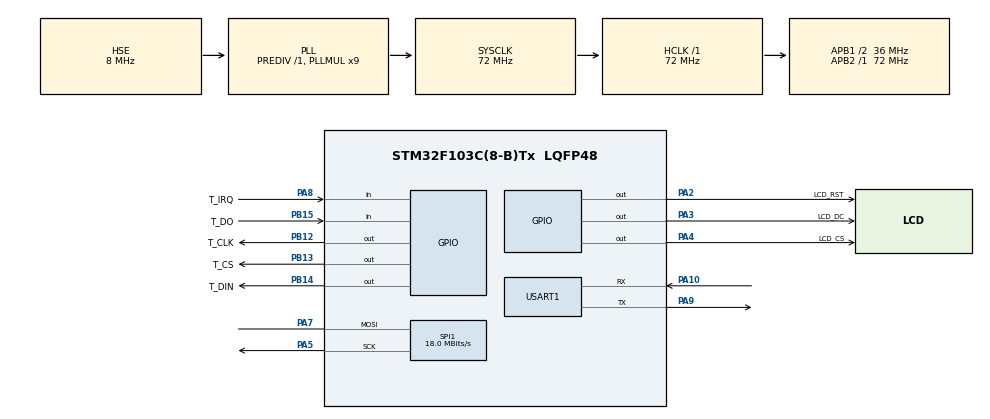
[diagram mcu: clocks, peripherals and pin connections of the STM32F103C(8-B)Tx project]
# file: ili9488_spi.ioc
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Mcu.Family=STM32F1
Mcu.Name=STM32F103C(8-B)Tx
Mcu.Package=LQFP48
NVIC.PriorityGroup=NVIC_PRIORITYGROUP_4
PA10.Mode=Asynchronous
PA10.Signal=USART1_RX
PA13.Mode=Serial_Wire
PA13.Signal=SYS_JTMS-SWDIO
PA14.Mode=Serial_Wire
PA14.Signal=SYS_JTCK-SWCLK
PA2.GPIO_Label=LCD_RST
PA2.Signal=GPIO_Output
PA3.GPIO_Label=LCD_DC
PA3.Signal=GPIO_Output
PA4.GPIO_Label=LCD_CS
PA4.PinState=GPIO_PIN_RESET
PA4.Signal=GPIO_Output
PA5.Mode=Simplex_Bidirectional_Master
PA5.Signal=SPI1_SCK
PA7.Mode=Simplex_Bidirectional_Master
PA7.Signal=SPI1_MOSI
PA8.GPIO_Label=T_IRQ
PA8.Signal=GPIO_Input
PA9.Mode=Asynchronous
PA9.Signal=USART1_TX
PB12.GPIO_Label=T_CLK
PB12.Signal=GPIO_Output
PB13.GPIO_Label=T_CS
PB13.Signal=GPIO_Output
PB14.GPIO_Label=T_DIN
PB14.Signal=GPIO_Output
PB15.GPIO_Label=T_DO
PB15.Signal=GPIO_Input
PD0-OSC_IN.Mode=HSE-External-Oscillator
PD0-OSC_IN.Signal=RCC_OSC_IN
PD1-OSC_OUT.Mode=HSE-External-Oscillator
PD1-OSC_OUT.Signal=RCC_OSC_OUT
ProjectManager.HeapSize=0x200
ProjectManager.StackSize=0x400
ProjectManager.TargetToolchain=EWARM V8.32
RCC.AHBFreq_Value=72000000
RCC.APB1CLKDivider=RCC_HCLK_DIV2
RCC.APB1Freq_Value=36000000
RCC.APB1TimFreq_Value=72000000
RCC.APB2Freq_Value=72000000
RCC.APB2TimFreq_Value=72000000
RCC.HCLKFreq_Value=72000000
RCC.PLLMUL=RCC_PLL_MUL9
RCC.PLLSourceVirtual=RCC_PLLSOURCE_HSE
RCC.SYSCLKFreq_VALUE=72000000
RCC.SYSCLKSource=RCC_SYSCLKSOURCE_PLLCLK
RCC.USBFreq_Value=72000000
SPI1.BaudRatePrescaler=SPI_BAUDRATEPRESCALER_4
SPI1.CalculateBaudRate=18.0 MBits/s
SPI1.Direction=SPI_DIRECTION_1LINE
SPI1.Mode=SPI_MODE_MASTER
SPI1.VirtualType=VM_MASTER
TIM1.Prescaler=72-1
USART1.VirtualMode=VM_ASYNC
VP_TIM1_VS_ClockSourceINT.Mode=Internal
board=custom

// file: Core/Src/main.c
/* USER CODE BEGIN Header */
/**
******************************************************************************
* @file           : main.c
* @brief          : Main program body
******************************************************************************
* @attention
*
* Copyright (c) 2023 STMicroelectronics.
* All rights reserved.
*
* This software is licensed under terms that can be found in the LICENSE file
* in the root directory of this software component.
* If no LICENSE file comes with this software, it is provided AS-IS.
*
******************************************************************************
*/
/* USER CODE END Header */
#include "main.h"

/* USER CODE BEGIN Includes */

#include "stdio.h"
#include "ILI9488_SPI.h"
#include "XPT2046.h"
#include "Font.h"
#include "AF12x16.h"
#include "image.h"
#include "startShow.h"
/* USER CODE END Includes */

SPI_HandleTypeDef hspi1;

TIM_HandleTypeDef htim1;

UART_HandleTypeDef huart1;

/* USER CODE BEGIN PV */
char str[100];
uint16_t x,y;
int i;
char test[100];
int len;
/* USER CODE END PV */

void SystemClock_Config(void);
static void MX_GPIO_Init(void);
static void MX_SPI1_Init(void);
static void MX_TIM1_Init(void);
static void MX_USART1_UART_Init(void);

/* USER CODE BEGIN 0 */

void show_uart( char *ss)
{
  strcpy(test, ss);
  strcat(test, "\r\n");
  len = strlen (test);
  HAL_UART_Transmit(&huart1, (uint8_t *) test, len, HAL_MAX_DELAY);
}

/* USER CODE END 0 */

int main(void)
{

  /* USER CODE BEGIN 1 */
  SystemInit();
  /* USER CODE END 1 */

  /* MCU Configuration--------------------------------------------------------*/

  /* Reset of all peripherals, Initializes the Flash interface and the Systick. */
  HAL_Init();

  /* Configure the system clock */
  SystemClock_Config();

  /* Initialize all configured peripherals */
  MX_GPIO_Init();
  MX_SPI1_Init();
  MX_TIM1_Init();
  MX_USART1_UART_Init();
  /* USER CODE BEGIN 2 */
  HAL_TIM_Base_Start_IT(&htim1);
  ILI9488_Init();

  StartShow();

  LcdFontXScale(2);
  LcdFontYScale(2);

  // ILI9488_Set_Rotation(0);
  ILI9488_Fill_Screen(WHITE);
  SetLetter(P_LETTER);
  DrawStringAt(0,0,"محمد فرج الهی",WHITE,RED);
  DrawStringAt(1,0,"ردیاب پاوان",WHITE,BLACK);
  SetLetter(E_LETTER);
  DrawStringAt(3,0," pavantech.ir ",BLACK,WHITE);
  DrawStringAt(4,0," TFT ILI9488 ",WHITE,MAROON);
  DrawStringAt(5,0," STM32F103 ",WHITE,PINK);
  HAL_Delay(3000);
  LcdFontXScale(3);
  LcdFontYScale(3);
  ILI9488_Fill_Screen(BLACK);
  SetLetter(P_LETTER);
  DrawStringAt(0,0," پاوان تکنولوژی ",WHITE,BLACK);
  DrawStringAt(1,0," ردیاب خودرو ",WHITE,BLACK);
  SetLetter(E_LETTER);
  DrawStringAt(3,0," pavantech.ir ",BLACK,WHITE);
  DrawStringAt(4,0," TFT ILI9488 ",WHITE,MAROON);
  DrawStringAt(5,0," STM32F103 ",WHITE,PINK);
  HAL_Delay(1000);

  //  ILI9488_Set_Rotation(1);
  //  ILI9488_Fill_Screen(BLUE);
  //  SetLetter(P_LETTER);
  //  DrawStringAt(0,0," ?? ??? ??? ",WHITE,RED);
  //  DrawStringAt(1,0," ???? ????? ",WHITE,BLACK);
  //  SetLetter(E_LETTER);
  //  DrawStringAt(3,0," micronik.ir ",BLACK,WHITE);
  //  DrawStringAt(4,0," TFT ILI9488 ",WHITE,MAROON);
  //  DrawStringAt(5,0," STM32F103 ",WHITE,PINK);
  //  HAL_Delay(1000);
  //
  //  ILI9488_Set_Rotation(2);
  //  ILI9488_Fill_Screen(BLUE);
  //  SetLetter(P_LETTER);
  //  DrawStringAt(0,0," ?? ??? ??? ",WHITE,RED);
  //  DrawStringAt(1,0," ???? ????? ",WHITE,BLACK);
  //  SetLetter(E_LETTER);
  //  DrawStringAt(3,0," micronik.ir ",BLACK,WHITE);
  //  DrawStringAt(4,0," TFT ILI9488 ",WHITE,MAROON);
  //  DrawStringAt(5,0," STM32F103 ",WHITE,PINK);
  //  HAL_Delay(1000);
  //
  //  ILI9488_Set_Rotation(3);
  //  ILI9488_Fill_Screen(BLUE);
  //  SetLetter(P_LETTER);
  //  DrawStringAt(0,0," ?? ??? ??? ",WHITE,RED);
  //  DrawStringAt(1,0," ???? ????? ",WHITE,BLACK);
  //  SetLetter(E_LETTER);
  //  DrawStringAt(3,0," micronik.ir ",BLACK,WHITE);
  //  DrawStringAt(4,0," TFT ILI9488 ",WHITE,MAROON);
  //  DrawStringAt(5,0," STM32F103 ",WHITE,PINK);
  //  HAL_Delay(1000);

  ILI9488_Set_Rotation(0);
  ILI9488_Fill_Screen(WHITE);
  ILI9488_Draw_Fill_Rectangle(15 , 420 , 60  ,30 , BLUE);
  HAL_Delay(100);
  ILI9488_Draw_Fill_Rectangle(85 , 420 , 60 ,30 , GREEN);
  HAL_Delay(100);
  ILI9488_Draw_Fill_Rectangle(155 , 420 , 60  ,30 , YELLOW);
  HAL_Delay(100);
  ILI9488_Draw_Fill_Rectangle(225 , 420 , 60  ,30 , RED);
  HAL_Delay(100);
  /* USER CODE END 2 */

  /* Infinite loop */
  /* USER CODE BEGIN WHILE */
  while (1)
  {
    if(XPT2046_TouchPressed()){
      XPT2046_TouchGetCoordinates(&x, &y);
      sprintf(str, "  X:%4d Y:%4d    ", x, y);
      LcdFontXScale(2);
      LcdFontYScale(2);
      DrawStringAt(0,0,str,WHITE,BLACK);
      if(x>=370 && x<=455 && y>=284 && y<=300)
      {
        ILI9488_Draw_Fill_Rectangle(10 , 40 , 280 ,340 , BLUE);
      }
      if(x>=266 && x<=352 && y>=284 && y<=300)
      {
        ILI9488_Draw_Fill_Rectangle(10 , 40 , 280 ,340 , GREEN);
      }
      if(x>=158 && x<=244 && y>=284 && y<=300)
      {
        ILI9488_Draw_Fill_Rectangle(10 , 40 , 280 ,340 , YELLOW);
      }
      if(x>=50 && x<=133 && y>=284 && y<=300)
      {
        ILI9488_Draw_Fill_Rectangle(10 , 40 , 280 ,340 , RED);
      }

    }

    HAL_Delay(50);
    /* USER CODE END WHILE */

  }
}

void SystemClock_Config(void)
{
  RCC_OscInitTypeDef RCC_OscInitStruct = {0};
  RCC_ClkInitTypeDef RCC_ClkInitStruct = {0};

  /** Initializes the RCC Oscillators according to the specified parameters
  * in the RCC_OscInitTypeDef structure.
  */
  RCC_OscInitStruct.OscillatorType = RCC_OSCILLATORTYPE_HSE;
  RCC_OscInitStruct.HSEState = RCC_HSE_ON;
  RCC_OscInitStruct.HSEPredivValue = RCC_HSE_PREDIV_DIV1;
  RCC_OscInitStruct.HSIState = RCC_HSI_ON;
  RCC_OscInitStruct.PLL.PLLState = RCC_PLL_ON;
  RCC_OscInitStruct.PLL.PLLSource = RCC_PLLSOURCE_HSE;
  RCC_OscInitStruct.PLL.PLLMUL = RCC_PLL_MUL9;
  if (HAL_RCC_OscConfig(&RCC_OscInitStruct) != HAL_OK)
  {
    Error_Handler();
  }

  /** Initializes the CPU, AHB and APB buses clocks
  */
  RCC_ClkInitStruct.ClockType = RCC_CLOCKTYPE_HCLK|RCC_CLOCKTYPE_SYSCLK
    |RCC_CLOCKTYPE_PCLK1|RCC_CLOCKTYPE_PCLK2;
  RCC_ClkInitStruct.SYSCLKSource = RCC_SYSCLKSOURCE_PLLCLK;
  RCC_ClkInitStruct.AHBCLKDivider = RCC_SYSCLK_DIV1;
  RCC_ClkInitStruct.APB1CLKDivider = RCC_HCLK_DIV2;
  RCC_ClkInitStruct.APB2CLKDivider = RCC_HCLK_DIV1;

  if (HAL_RCC_ClockConfig(&RCC_ClkInitStruct, FLASH_LATENCY_2) != HAL_OK)
  {
    Error_Handler();
  }
}

static void MX_SPI1_Init(void)
{

  /* SPI1 parameter configuration*/
  hspi1.Instance = SPI1;
  hspi1.Init.Mode = SPI_MODE_MASTER;
  hspi1.Init.Direction = SPI_DIRECTION_1LINE;
  hspi1.Init.DataSize = SPI_DATASIZE_8BIT;
  hspi1.Init.CLKPolarity = SPI_POLARITY_LOW;
  hspi1.Init.CLKPhase = SPI_PHASE_1EDGE;
  hspi1.Init.NSS = SPI_NSS_SOFT;
  hspi1.Init.BaudRatePrescaler = SPI_BAUDRATEPRESCALER_4;
  hspi1.Init.FirstBit = SPI_FIRSTBIT_MSB;
  hspi1.Init.TIMode = SPI_TIMODE_DISABLE;
  hspi1.Init.CRCCalculation = SPI_CRCCALCULATION_DISABLE;
  hspi1.Init.CRCPolynomial = 10;
  if (HAL_SPI_Init(&hspi1) != HAL_OK)
  {
    Error_Handler();
  }

}

static void MX_TIM1_Init(void)
{

  TIM_ClockConfigTypeDef sClockSourceConfig = {0};
  TIM_MasterConfigTypeDef sMasterConfig = {0};

  htim1.Instance = TIM1;
  htim1.Init.Prescaler = 72-1;
  htim1.Init.CounterMode = TIM_COUNTERMODE_UP;
  htim1.Init.Period = 65535;
  htim1.Init.ClockDivision = TIM_CLOCKDIVISION_DIV1;
  htim1.Init.RepetitionCounter = 0;
  htim1.Init.AutoReloadPreload = TIM_AUTORELOAD_PRELOAD_DISABLE;
  if (HAL_TIM_Base_Init(&htim1) != HAL_OK)
  {
    Error_Handler();
  }
  sClockSourceConfig.ClockSource = TIM_CLOCKSOURCE_INTERNAL;
  if (HAL_TIM_ConfigClockSource(&htim1, &sClockSourceConfig) != HAL_OK)
  {
    Error_Handler();
  }
  sMasterConfig.MasterOutputTrigger = TIM_TRGO_RESET;
  sMasterConfig.MasterSlaveMode = TIM_MASTERSLAVEMODE_DISABLE;
  if (HAL_TIMEx_MasterConfigSynchronization(&htim1, &sMasterConfig) != HAL_OK)
  {
    Error_Handler();
  }

}

static void MX_USART1_UART_Init(void)
{

  huart1.Instance = USART1;
  huart1.Init.BaudRate = 115200;
  huart1.Init.WordLength = UART_WORDLENGTH_8B;
  huart1.Init.StopBits = UART_STOPBITS_1;
  huart1.Init.Parity = UART_PARITY_NONE;
  huart1.Init.Mode = UART_MODE_TX_RX;
  huart1.Init.HwFlowCtl = UART_HWCONTROL_NONE;
  huart1.Init.OverSampling = UART_OVERSAMPLING_16;
  if (HAL_UART_Init(&huart1) != HAL_OK)
  {
    Error_Handler();
  }

}

static void MX_GPIO_Init(void)
{
  GPIO_InitTypeDef GPIO_InitStruct = {0};

  /* GPIO Ports Clock Enable */
  __HAL_RCC_GPIOD_CLK_ENABLE();
  __HAL_RCC_GPIOA_CLK_ENABLE();
  __HAL_RCC_GPIOB_CLK_ENABLE();

  /*Configure GPIO pin Output Level */
  HAL_GPIO_WritePin(GPIOA, LCD_RST_Pin|LCD_DC_Pin|LCD_CS_Pin, GPIO_PIN_RESET);

  /*Configure GPIO pin Output Level */
  HAL_GPIO_WritePin(GPIOB, T_CLK_Pin|T_CS_Pin|T_DIN_Pin, GPIO_PIN_RESET);

  /*Configure GPIO pins : LCD_RST_Pin LCD_DC_Pin LCD_CS_Pin */
  GPIO_InitStruct.Pin = LCD_RST_Pin|LCD_DC_Pin|LCD_CS_Pin;
  GPIO_InitStruct.Mode = GPIO_MODE_OUTPUT_PP;
  GPIO_InitStruct.Pull = GPIO_NOPULL;
  GPIO_InitStruct.Speed = GPIO_SPEED_FREQ_LOW;
  HAL_GPIO_Init(GPIOA, &GPIO_InitStruct);

  /*Configure GPIO pins : T_CLK_Pin T_CS_Pin T_DIN_Pin */
  GPIO_InitStruct.Pin = T_CLK_Pin|T_CS_Pin|T_DIN_Pin;
  GPIO_InitStruct.Mode = GPIO_MODE_OUTPUT_PP;
  GPIO_InitStruct.Pull = GPIO_NOPULL;
  GPIO_InitStruct.Speed = GPIO_SPEED_FREQ_LOW;
  HAL_GPIO_Init(GPIOB, &GPIO_InitStruct);

  /*Configure GPIO pin : T_DO_Pin */
  GPIO_InitStruct.Pin = T_DO_Pin;
  GPIO_InitStruct.Mode = GPIO_MODE_INPUT;
  GPIO_InitStruct.Pull = GPIO_NOPULL;
  HAL_GPIO_Init(T_DO_GPIO_Port, &GPIO_InitStruct);

  /*Configure GPIO pin : T_IRQ_Pin */
  GPIO_InitStruct.Pin = T_IRQ_Pin;
  GPIO_InitStruct.Mode = GPIO_MODE_INPUT;
  GPIO_InitStruct.Pull = GPIO_NOPULL;
  HAL_GPIO_Init(T_IRQ_GPIO_Port, &GPIO_InitStruct);

}

void Error_Handler(void)
{
  __disable_irq();
  while (1)
  {
  }
}
